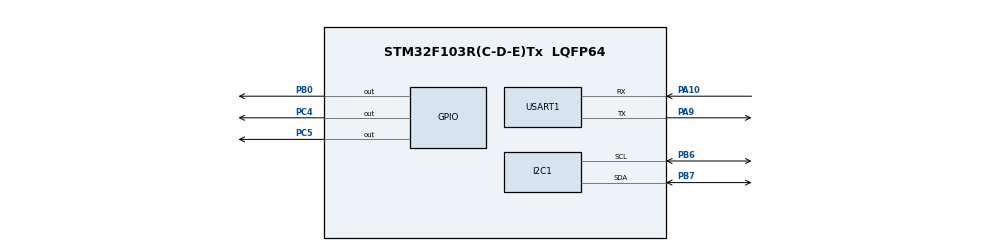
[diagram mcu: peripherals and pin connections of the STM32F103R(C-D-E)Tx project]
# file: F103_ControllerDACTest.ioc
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FREERTOS.Tasks01=defaultTask,24,128,StartDefaultTask,Default,NULL,Dynamic,NULL,NULL
FREERTOS.configGENERATE_RUN_TIME_STATS=1
FREERTOS.configUSE_STATS_FORMATTING_FUNCTIONS=1
Mcu.Family=STM32F1
Mcu.Name=STM32F103R(C-D-E)Tx
Mcu.Package=LQFP64
NVIC.PriorityGroup=NVIC_PRIORITYGROUP_4
NVIC.USART1_IRQn=true\:5\:0\:false\:false\:true\:true\:true\:true
PA10.Mode=Asynchronous
PA10.Signal=USART1_RX
PA13.Mode=Serial_Wire
PA13.Signal=SYS_JTMS-SWDIO
PA14.Mode=Serial_Wire
PA14.Signal=SYS_JTCK-SWCLK
PA9.Mode=Asynchronous
PA9.Signal=USART1_TX
PB0.Signal=GPIO_Output
PB6.Mode=I2C
PB6.Signal=I2C1_SCL
PB7.Mode=I2C
PB7.Signal=I2C1_SDA
PC4.Signal=GPIO_Output
PC5.Signal=GPIO_Output
ProjectManager.HeapSize=0x200
ProjectManager.StackSize=0x400
ProjectManager.TargetToolchain=STM32CubeIDE
RCC.APB1Freq_Value=8000000
RCC.APB2Freq_Value=8000000
USART1.VirtualMode=VM_ASYNC
VP_FREERTOS_VS_CMSIS_V2.Mode=CMSIS_V2
board=custom

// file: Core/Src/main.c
/* USER CODE BEGIN Header */
/**
  ******************************************************************************
  * @file           : main.c
  * @brief          : Main program body
  ******************************************************************************
  * @attention
  *
  * <h2><center>&copy; Copyright (c) 2021 STMicroelectronics.
  * All rights reserved.</center></h2>
  *
  * This software component is licensed by ST under BSD 3-Clause license,
  * the "License"; You may not use this file except in compliance with the
  * License. You may obtain a copy of the License at:
  *                        opensource.org/licenses/BSD-3-Clause
  *
  ******************************************************************************
  */
/* USER CODE END Header */
#include "main.h"
#include "cmsis_os.h"

I2C_HandleTypeDef hi2c1;

UART_HandleTypeDef huart1;

/* Definitions for defaultTask */
osThreadId_t defaultTaskHandle;
const osThreadAttr_t defaultTask_attributes = {
  .name = "defaultTask",
  .priority = (osPriority_t) osPriorityNormal,
  .stack_size = 128 * 4
};
/* USER CODE BEGIN PV */
const osThreadAttr_t cli_task_attributes = {
  .name = "cli_task_",
  .priority = (osPriority_t) osPriorityNormal,
  .stack_size = 128 * 8
};

/* USER CODE END PV */

void SystemClock_Config(void);
static void MX_GPIO_Init(void);
static void MX_I2C1_Init(void);
static void MX_USART1_UART_Init(void);
void StartDefaultTask(void *argument);

/* USER CODE BEGIN 0 */
extern void prvUARTCommandConsoleTask(void *pvParamteres);

void cli_task_(void *arg)
{
	for(;;)
	{
		prvUARTCommandConsoleTask(NULL);
	}
}

#define REG_OUT_0 	0xF8
#define REG_OUT_1 	0xF9
#define REG_OUT_2 	0xFA
#define REG_OUT_3 	0xFB

int sendDataToDAC(int regNo, int dacArg)
{
	int writeReg = 0;
	if (regNo == 0)
	{
		HAL_GPIO_WritePin(GPIOB, GPIO_PIN_0, SET);
		writeReg = REG_OUT_0;
	}
	else if (regNo == 1)
	{
		HAL_GPIO_WritePin(GPIOC, GPIO_PIN_5, SET);
		writeReg = REG_OUT_1;
	}
	else if (regNo == 2)
	{
		HAL_GPIO_WritePin(GPIOC, GPIO_PIN_4, SET);
		writeReg = REG_OUT_2;
	}
	else
	{
		HAL_GPIO_WritePin(GPIOB, GPIO_PIN_0, RESET);
		HAL_GPIO_WritePin(GPIOC, GPIO_PIN_4, RESET);
		HAL_GPIO_WritePin(GPIOC, GPIO_PIN_5, RESET);
	}

	if (HAL_I2C_IsDeviceReady(&hi2c1, 32, 3, 1000) == HAL_OK)
	{
		uint8_t cmd[2] = {writeReg, dacArg};
		HAL_I2C_Master_Transmit(&hi2c1, 32, cmd, 2, 1000);

		//HAL_Delay(100);
		uint8_t buf= 0;
		HAL_I2C_Master_Transmit(&hi2c1, 32, writeReg, 1, 1000);
		HAL_I2C_Master_Receive(&hi2c1, 33, &buf, 1, 1000);

		if (buf == dacArg)
			return 2;
		else
			return 1;
	}
	else
	{
		return 0;
	}

}
/* USER CODE END 0 */

int main(void)
{

  /* MCU Configuration--------------------------------------------------------*/

  /* Reset of all peripherals, Initializes the Flash interface and the Systick. */
  HAL_Init();

  /* Configure the system clock */
  SystemClock_Config();

  /* Initialize all configured peripherals */
  MX_GPIO_Init();
  MX_I2C1_Init();
  MX_USART1_UART_Init();

  /* Init scheduler */
  osKernelInitialize();

  /* Create the thread(s) */
  /* creation of defaultTask */
  defaultTaskHandle = osThreadNew(StartDefaultTask, NULL, &defaultTask_attributes);

  /* USER CODE BEGIN RTOS_THREADS */
  /* add threads, ... */
  osThreadNew(cli_task_, NULL, &cli_task_attributes);
  /* USER CODE END RTOS_THREADS */

  /* Start scheduler */
  osKernelStart();

  /* We should never get here as control is now taken by the scheduler */
  /* Infinite loop */
  while (1)
  {

  }
}

void SystemClock_Config(void)
{
  RCC_OscInitTypeDef RCC_OscInitStruct = {0};
  RCC_ClkInitTypeDef RCC_ClkInitStruct = {0};

  /** Initializes the RCC Oscillators according to the specified parameters
  * in the RCC_OscInitTypeDef structure.
  */
  RCC_OscInitStruct.OscillatorType = RCC_OSCILLATORTYPE_HSI;
  RCC_OscInitStruct.HSIState = RCC_HSI_ON;
  RCC_OscInitStruct.HSICalibrationValue = RCC_HSICALIBRATION_DEFAULT;
  RCC_OscInitStruct.PLL.PLLState = RCC_PLL_NONE;
  if (HAL_RCC_OscConfig(&RCC_OscInitStruct) != HAL_OK)
  {
    Error_Handler();
  }
  /** Initializes the CPU, AHB and APB buses clocks
  */
  RCC_ClkInitStruct.ClockType = RCC_CLOCKTYPE_HCLK|RCC_CLOCKTYPE_SYSCLK
                              |RCC_CLOCKTYPE_PCLK1|RCC_CLOCKTYPE_PCLK2;
  RCC_ClkInitStruct.SYSCLKSource = RCC_SYSCLKSOURCE_HSI;
  RCC_ClkInitStruct.AHBCLKDivider = RCC_SYSCLK_DIV1;
  RCC_ClkInitStruct.APB1CLKDivider = RCC_HCLK_DIV1;
  RCC_ClkInitStruct.APB2CLKDivider = RCC_HCLK_DIV1;

  if (HAL_RCC_ClockConfig(&RCC_ClkInitStruct, FLASH_LATENCY_0) != HAL_OK)
  {
    Error_Handler();
  }
}

static void MX_I2C1_Init(void)
{

  hi2c1.Instance = I2C1;
  hi2c1.Init.ClockSpeed = 100000;
  hi2c1.Init.DutyCycle = I2C_DUTYCYCLE_2;
  hi2c1.Init.OwnAddress1 = 0;
  hi2c1.Init.AddressingMode = I2C_ADDRESSINGMODE_7BIT;
  hi2c1.Init.DualAddressMode = I2C_DUALADDRESS_DISABLE;
  hi2c1.Init.OwnAddress2 = 0;
  hi2c1.Init.GeneralCallMode = I2C_GENERALCALL_DISABLE;
  hi2c1.Init.NoStretchMode = I2C_NOSTRETCH_DISABLE;
  if (HAL_I2C_Init(&hi2c1) != HAL_OK)
  {
    Error_Handler();
  }

}

static void MX_USART1_UART_Init(void)
{

  huart1.Instance = USART1;
  huart1.Init.BaudRate = 115200;
  huart1.Init.WordLength = UART_WORDLENGTH_8B;
  huart1.Init.StopBits = UART_STOPBITS_1;
  huart1.Init.Parity = UART_PARITY_NONE;
  huart1.Init.Mode = UART_MODE_TX_RX;
  huart1.Init.HwFlowCtl = UART_HWCONTROL_NONE;
  huart1.Init.OverSampling = UART_OVERSAMPLING_16;
  if (HAL_UART_Init(&huart1) != HAL_OK)
  {
    Error_Handler();
  }

}

static void MX_GPIO_Init(void)
{
  GPIO_InitTypeDef GPIO_InitStruct = {0};

  /* GPIO Ports Clock Enable */
  __HAL_RCC_GPIOC_CLK_ENABLE();
  __HAL_RCC_GPIOB_CLK_ENABLE();
  __HAL_RCC_GPIOA_CLK_ENABLE();

  /*Configure GPIO pin Output Level */
  HAL_GPIO_WritePin(GPIOC, GPIO_PIN_4|GPIO_PIN_5, GPIO_PIN_SET);

  /*Configure GPIO pin Output Level */
  HAL_GPIO_WritePin(GPIOB, GPIO_PIN_0, GPIO_PIN_SET);

  /*Configure GPIO pins : PC4 PC5 */
  GPIO_InitStruct.Pin = GPIO_PIN_4|GPIO_PIN_5;
  GPIO_InitStruct.Mode = GPIO_MODE_OUTPUT_PP;
  GPIO_InitStruct.Pull = GPIO_NOPULL;
  GPIO_InitStruct.Speed = GPIO_SPEED_FREQ_LOW;
  HAL_GPIO_Init(GPIOC, &GPIO_InitStruct);

  /*Configure GPIO pin : PB0 */
  GPIO_InitStruct.Pin = GPIO_PIN_0;
  GPIO_InitStruct.Mode = GPIO_MODE_OUTPUT_PP;
  GPIO_InitStruct.Pull = GPIO_NOPULL;
  GPIO_InitStruct.Speed = GPIO_SPEED_FREQ_LOW;
  HAL_GPIO_Init(GPIOB, &GPIO_InitStruct);

}

void StartDefaultTask(void *argument)
{
  for(;;)
  {
    osDelay(1);
  }
}

void Error_Handler(void)
{
  __disable_irq();
  while (1)
  {
  }
}

/************************ (C) COPYRIGHT STMicroelectronics *****END OF FILE****/
